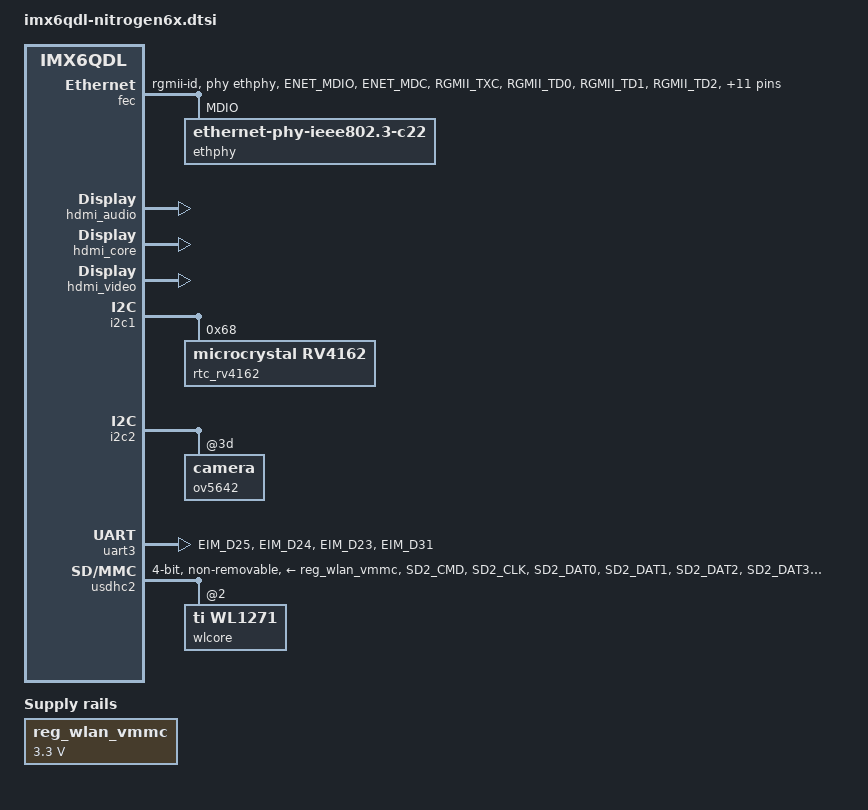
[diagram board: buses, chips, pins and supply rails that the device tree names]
// SPDX-License-Identifier: GPL-2.0 OR X11
/*
 * Copyright 2013-2016 Boundary Devices, Inc.
 * Copyright 2011-2015 Freescale Semiconductor, Inc.
 * Copyright 2011 Linaro Ltd.
 */
#include "imx6qdl-sabrelite.dtsi"

&iomuxc {
	pinctrl_audmux: audmuxgrp {
		fsl,pins = <
			MX6QDL_PAD_CSI0_DAT7__AUD3_RXD		0x130b0
			MX6QDL_PAD_CSI0_DAT4__AUD3_TXC		0x130b0
			MX6QDL_PAD_CSI0_DAT5__AUD3_TXD		0x110b0
			MX6QDL_PAD_CSI0_DAT6__AUD3_TXFS		0x130b0
		>;
	};

	pinctrl_bt_rfkill: bt-rfkillgrp {
		fsl,pins = <
#define GP_BT_RFKILL_RESET	<&gpio6 16 GPIO_ACTIVE_LOW>
			MX6QDL_PAD_NANDF_CS3__GPIO6_IO16	0x000b0
		>;
	};

	pinctrl_enet: enetgrp {
		fsl,pins = <
			MX6QDL_PAD_ENET_MDIO__ENET_MDIO		0x1b0b0
			MX6QDL_PAD_ENET_MDC__ENET_MDC		0x1b0b0
			MX6QDL_PAD_RGMII_TXC__RGMII_TXC		0x100b0
			MX6QDL_PAD_RGMII_TD0__RGMII_TD0		0x100b0
			MX6QDL_PAD_RGMII_TD1__RGMII_TD1		0x100b0
			MX6QDL_PAD_RGMII_TD2__RGMII_TD2		0x100b0
			MX6QDL_PAD_RGMII_TD3__RGMII_TD3		0x100b0
			MX6QDL_PAD_RGMII_TX_CTL__RGMII_TX_CTL	0x100b0
			MX6QDL_PAD_ENET_REF_CLK__ENET_TX_CLK	0x100b0
			MX6QDL_PAD_RGMII_RXC__RGMII_RXC		0x1b0b0
			MX6QDL_PAD_RGMII_RD0__RGMII_RD0		0x1b0b0
			MX6QDL_PAD_RGMII_RD1__RGMII_RD1		0x1b0b0
			MX6QDL_PAD_RGMII_RD2__RGMII_RD2		0x1b0b0
			MX6QDL_PAD_RGMII_RD3__RGMII_RD3		0x1b0b0
			MX6QDL_PAD_RGMII_RX_CTL__RGMII_RX_CTL	0x1b0b0
#define GPIRQ_ENET_PHY		<&gpio1 28 IRQ_TYPE_LEVEL_LOW>
			MX6QDL_PAD_ENET_TX_EN__GPIO1_IO28	0x1b0b0
		>;
	};

	pinctrl_enet_reset: enet-resetgrp {
		fsl,pins = <
#undef GP_ENET_PHY_RESET
#define GP_ENET_PHY_RESET	<&gpio1 27 GPIO_ACTIVE_LOW>
			MX6QDL_PAD_ENET_RXD0__GPIO1_IO27	0x030b0
		>;
	};

	pinctrl_hog: hoggrp {
		fsl,pins = <
			MX6QDL_PAD_SD3_DAT4__GPIO7_IO01		0x1b0b0		/* Spare */
			MX6QDL_PAD_NANDF_D7__GPIO2_IO07		0x1b0b0		/* Spare */
			MX6QDL_PAD_GPIO_4__GPIO1_IO04		0x1b0b0		/* Spare */
		>;
	};

	pinctrl_i2c1_isl1208: i2c1-isl1208grp {
		fsl,pins = <
#define GPIRQ_RTC_ISL1208	<&gpio6 7 IRQ_TYPE_EDGE_FALLING>
			MX6QDL_PAD_NANDF_CLE__GPIO6_IO07	0x1b0b0
		>;
	};

	pinctrl_i2c1_rv4162: i2c1-rv4162grp {
		fsl,pins = <
#define GPIRQ_RTC_RV4162	<&gpio6 7 IRQ_TYPE_LEVEL_LOW>
			MX6QDL_PAD_NANDF_CLE__GPIO6_IO07	0x1b0b0
		>;
	};


	pinctrl_i2c2_ov5642_reset2: i2c2-ov5642-reset2grp { /* parallel camera */
		fsl,pins = <
/* SOM1 boards need this */
#define GP_OV5642_RESET2	<&gpio6 11 GPIO_ACTIVE_LOW>
			MX6QDL_PAD_NANDF_CS0__GPIO6_IO11		0x030b0
		>;
	};

	pinctrl_reg_wlan_vmmc: reg-wlan-vmmcgrp {
		fsl,pins = <
#define GP_REG_WLAN_EN	<&gpio6 15 GPIO_ACTIVE_HIGH>
			MX6QDL_PAD_NANDF_CS2__GPIO6_IO15	0x030b0
		>;
	};

	pinctrl_uart3: uart3grp {
		fsl,pins = <
			MX6QDL_PAD_EIM_D25__UART3_RX_DATA	0x1b0b1
			MX6QDL_PAD_EIM_D24__UART3_TX_DATA	0x1b0b1
			MX6QDL_PAD_EIM_D23__UART3_CTS_B		0x1b0b1
			MX6QDL_PAD_EIM_D31__UART3_RTS_B		0x1b0b1
		>;
	};

	pinctrl_usdhc2: usdhc2grp {
		fsl,pins = <
			MX6QDL_PAD_SD2_CMD__SD2_CMD		0x17071
			MX6QDL_PAD_SD2_CLK__SD2_CLK		0x10071
			MX6QDL_PAD_SD2_DAT0__SD2_DATA0		0x17071
			MX6QDL_PAD_SD2_DAT1__SD2_DATA1		0x17071
			MX6QDL_PAD_SD2_DAT2__SD2_DATA2		0x17071
			MX6QDL_PAD_SD2_DAT3__SD2_DATA3		0x17071
			MX6QDL_PAD_SD1_CLK__OSC32K_32K_OUT	0x000b0		/* slow clock */
#define GPIRQ_WL1271	<&gpio6 14 IRQ_TYPE_LEVEL_HIGH>
			MX6QDL_PAD_NANDF_CS1__GPIO6_IO14	0x100b0
		>;
	};

	pinctrl_usdhc2_100mhz: usdhc2grp-100mhz {
		fsl,pins = <
			MX6QDL_PAD_SD2_CMD__SD2_CMD		0x170B9
			MX6QDL_PAD_SD2_CLK__SD2_CLK		0x100B9
			MX6QDL_PAD_SD2_DAT0__SD2_DATA0		0x170B9
			MX6QDL_PAD_SD2_DAT1__SD2_DATA1 		0x170B9
			MX6QDL_PAD_SD2_DAT2__SD2_DATA2 		0x170B9
			MX6QDL_PAD_SD2_DAT3__SD2_DATA3 		0x170B9
		>;
	};

	pinctrl_usdhc2_200mhz: usdhc2grp-200mhz {
		fsl,pins = <
			MX6QDL_PAD_SD2_CMD__SD2_CMD		0x170F9
			MX6QDL_PAD_SD2_CLK__SD2_CLK 		0x100F9
			MX6QDL_PAD_SD2_DAT0__SD2_DATA0		0x170F9
			MX6QDL_PAD_SD2_DAT1__SD2_DATA1 		0x170F9
			MX6QDL_PAD_SD2_DAT2__SD2_DATA2 		0x170F9
			MX6QDL_PAD_SD2_DAT3__SD2_DATA3 		0x170F9
		>;
	};

	pinctrl_usdhc3: usdhc3grp {
		fsl,pins = <
			MX6QDL_PAD_SD3_CMD__SD3_CMD		0x17059
			MX6QDL_PAD_SD3_CLK__SD3_CLK		0x10059
			MX6QDL_PAD_SD3_DAT0__SD3_DATA0		0x17059
			MX6QDL_PAD_SD3_DAT1__SD3_DATA1		0x17059
			MX6QDL_PAD_SD3_DAT2__SD3_DATA2		0x17059
			MX6QDL_PAD_SD3_DAT3__SD3_DATA3		0x17059
#define GP_USDHC3_CD	<&gpio7 0 GPIO_ACTIVE_LOW>
			MX6QDL_PAD_SD3_DAT5__GPIO7_IO00		0x1b0b0
		>;
	};
};

/ {
	aliases {
		rtc1 = &snvs_rtc;
		rtc_isl1208 = &rtc_isl1208;
		rtc_rv4162 = &rtc_rv4162;
	};

	bt-rfkill {
		compatible = "net,rfkill-gpio";
		pinctrl-names = "default";
		pinctrl-0 = <&pinctrl_bt_rfkill>;
		name = "bt-rfkill";
		type = <2>;	/* bluetooth */
		reset-gpios = GP_BT_RFKILL_RESET;
	};

	reg_wlan_vmmc: regulator-wlan-vmmc {
		compatible = "regulator-fixed";
		pinctrl-names = "default";
		pinctrl-0 = <&pinctrl_reg_wlan_vmmc>;
		regulator-name = "reg_wlan_vmmc";
		regulator-min-microvolt = <3300000>;
		regulator-max-microvolt = <3300000>;
		gpio = GP_REG_WLAN_EN;
		startup-delay-us = <70000>;
		enable-active-high;
	};

	sound {
		compatible = "fsl,imx6q-nitrogen6x-sgtl5000",
			     "fsl,imx-audio-sgtl5000";
		mux-ext-port = <3>;
	};
};

&fec {
	/delete-property/ interrupts;
	fsl,err006687-workaround-present;
	interrupts-extended = <&gpio1 6 IRQ_TYPE_LEVEL_HIGH>,
			      <&gpc 0 119 IRQ_TYPE_LEVEL_HIGH>;
	phy-handle = <&ethphy>;
	phy-mode = "rgmii-id";
#if 0
	phy-reset-gpios = GP_ENET_PHY_RESET;
#endif
	pinctrl-names = "default";
	pinctrl-0 = <&pinctrl_enet>, <&pinctrl_enet_reset>;
	status = "okay";

	mdio {
		#address-cells = <1>;
		#size-cells = <0>;

		ethphy: ethernet-phy {
			compatible = "ethernet-phy-ieee802.3-c22";
			interrupts-extended = GPIRQ_ENET_PHY;
			rxc-skew-ps = <3000>;
			rxd0-skew-ps = <0>;
			rxd1-skew-ps = <0>;
			rxd2-skew-ps = <0>;
			rxd3-skew-ps = <0>;
			rxdv-skew-ps = <0>;
			txc-skew-ps = <3000>;
			txd0-skew-ps = <0>;
			txd1-skew-ps = <0>;
			txd2-skew-ps = <0>;
			txd3-skew-ps = <0>;
			txen-skew-ps = <0>;
		};
	};
};

&hdmi_audio {
	status = "okay";
};

&hdmi_core {
	ipu_id = <0>;
	disp_id = <0>;
	status = "okay";
};

&hdmi_video {
	fsl,phy_reg_vlev = <0x0294>;
	fsl,phy_reg_cksymtx = <0x800d>;
	status = "okay";
};

&i2c1 {
	rtc_rv4162: rtc@68 {
		compatible = "microcrystal,rv4162";
		interrupts-extended = GPIRQ_RTC_RV4162;
		pinctrl-names = "default";
		pinctrl-0 = <&pinctrl_i2c1_rv4162>;
		reg = <0x68>;
		status = "okay";
	};

	rtc_isl1208: rtc@6f {
		compatible = "isil,isl1208";
		interrupts-extended = GPIRQ_RTC_ISL1208;
		pinctrl-names = "default";
		pinctrl-0 = <&pinctrl_i2c1_isl1208>;
		reg = <0x6f>;
		status = "disabled";
	};
};

&i2c2 {
	ov5642: camera@3d {
		pinctrl-0 = <&pinctrl_i2c2_ov5642>, <&pinctrl_i2c2_ov5642_reset2>;
		reset-gpios = GP_OV5642_RESET, GP_OV5642_RESET2;
	};
};

&uart3 {
	pinctrl-names = "default";
	pinctrl-0 = <&pinctrl_uart3>;
	uart-has-rtscts;
	status = "okay";
};

&usdhc2 {
	pinctrl-names = "default";
	pinctrl-names = "default", "state_100mhz", "state_200mhz";
	pinctrl-0 = <&pinctrl_usdhc2>;
	pinctrl-1 = <&pinctrl_usdhc2_100mhz>;
	pinctrl-2 = <&pinctrl_usdhc2_200mhz>;
	bus-width = <4>;
	non-removable;
	vmmc-supply = <&reg_wlan_vmmc>;
	vqmmc-1-8-v;
	cap-power-off-card;
	keep-power-in-suspend;
	status = "okay";

	#address-cells = <1>;
	#size-cells = <0>;
	wlcore: wlcore@2 {
		compatible = "ti,wl1271";
		interrupts-extended = GPIRQ_WL1271;
		reg = <2>;
		ref-clock-frequency = <38400000>;
	};
};

&usdhc3 {
	/delete-property/ wp-gpios;
};
